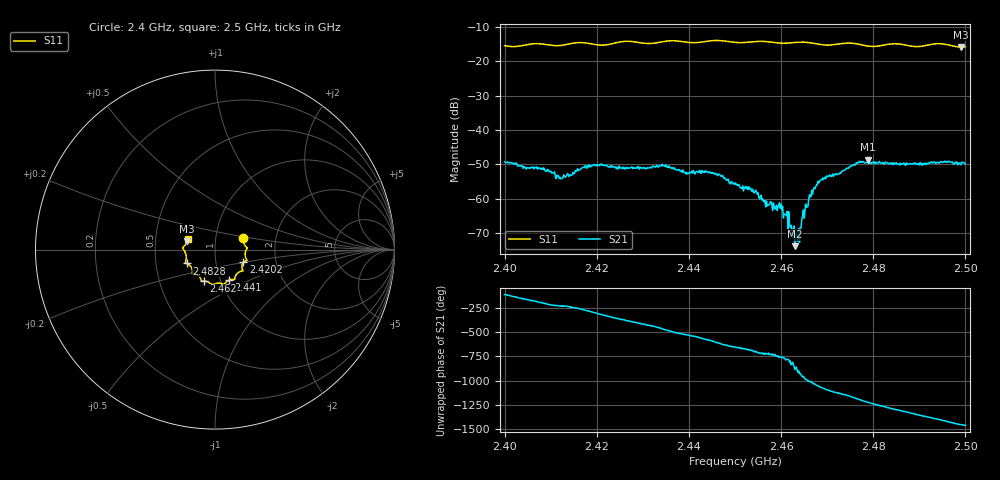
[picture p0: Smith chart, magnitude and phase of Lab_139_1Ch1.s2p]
# Hz S RI R 50
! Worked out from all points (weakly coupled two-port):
!   601 points, 2.4 GHz to 2.5 GHz, reference 50 ohm
!   highest |S21| = -48.61 dB at 2.4788 GHz (marker M1); lowest = -73.8 dB at 2.463 GHz (marker M2)
!   lowest |S11| = -15.8 dB at 2.499 GHz (marker M3), VSWR 1.39, Z = 36.5 + j3.48 ohm
!   |S11| at or under -10 dB: start of sweep to end of sweep
!   S12 and S22 are empty: the file has one direction only
!   S11 on the Smith chart (normalised r, x): 2.4 GHz: 1.36, +0.18; 2.4202 GHz: 1.36, -0.20; 2.441 GHz: 1.10, -0.39; 2.462 GHz: 0.84, -0.30; 2.4828 GHz: 0.72, -0.11; 2.5 GHz: 0.73, +0.09
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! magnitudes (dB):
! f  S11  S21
! 2.4 GHz  -15.4  -49.2
! 2.4122 GHz  -15.4  -54.2
! 2.4167 GHz  -14.5  -51.2
! 2.4202 GHz  -15.2  -50.1
! 2.4333 GHz  -14.5  -50.8
! 2.441 GHz  -14.6  -51.8
! 2.4455 GHz  -13.9  -52.8
! 2.45 GHz  -14.5  -55.3
! 2.4543 GHz  -14.2  -57.9
! 2.4568 GHz  -14.2  -60.6
! 2.4598 GHz  -14.7  -62.7
! 2.462 GHz  -14.6  -68.3
! 2.463 GHz  -14.5  -73.8
! 2.4638 GHz  -14.4  -68.7
! 2.465 GHz  -14.4  -65.7
! 2.4667 GHz  -14.6  -57.5
! 2.4695 GHz  -15.3  -53.7
! 2.4788 GHz  -15.6  -48.6
! 2.4828 GHz  -15.1  -49.4
! 2.4833 GHz  -15.0  -49.9
! 2.499 GHz  -15.8  -50.1
! 2.5 GHz  -15.7  -49.9
